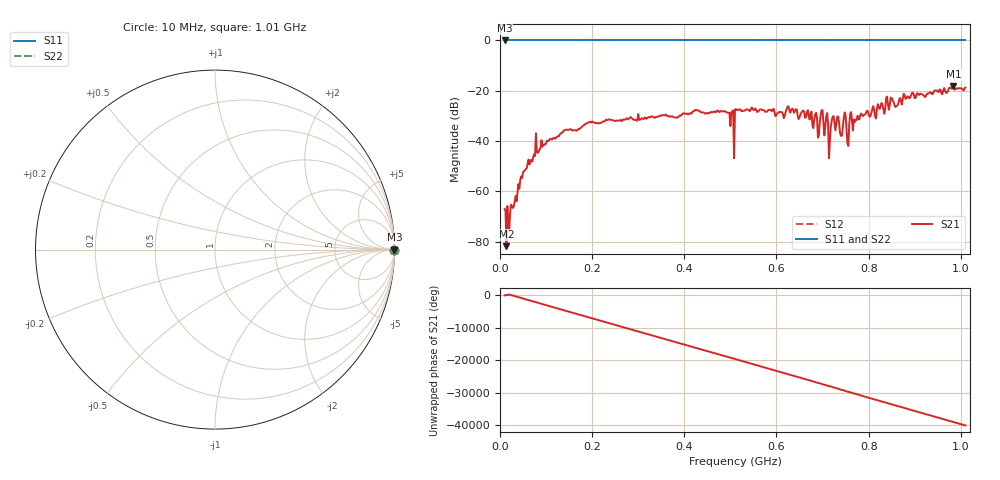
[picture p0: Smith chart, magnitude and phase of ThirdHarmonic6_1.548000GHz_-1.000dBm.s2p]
! 8/16/2025 6:22:24 PM
! C:\ANRITSUVNA\TEMP\TEMP.S2P
! CHANNEL.1
! TR.MEASUREMENT
! RAW.DATA
! RF.CORRECTION.OFF
! AVERAGING.OFF
! IF.BANDWIDTH: 5KHZ
! SWEEPTYPE:  FREQ.SWEEP(Linear)
! Reference Plane Port Info
! PORT:  PORT1  PORT2
! DISTANCE:  0  m  0  m
! TIME:  0  s  0  s
! PHASE.OFFSET:  0  deg.  0  deg.
! LOSS:  0  dB  0  dB
! REF.LOSS:  0  dB  0  dB
! REF.FREQ:  0  Hz  0  Hz
! Power Info
! POWER:  -20  dBm  -20  dBm
! EFF.POWER:  -20  dBm  -20  dBm
! SOURCE.ATTEN:  0  dB  0  dB
! TEST.ATTEN:  0  dB  0  dB
# GHZ S RI R 50.0
! FREQ.GHZ  S11RE  S11IM  S21RE  S21IM  S12RE  S12IM  S22RE  S22IM
!; PortSelection: Port_12
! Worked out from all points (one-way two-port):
!   501 points, 10 MHz to 1.01 GHz, reference 50 ohm
!   highest |S21| = -18.17 dB at 984 MHz (marker M1); lowest = -81.8 dB at 14 MHz (marker M2)
!   lowest |S11| = 0.0 dB at 10 MHz (marker M3)
!   |S11| at or under -10 dB: nowhere
!   |S22| runs from 0.0 to 0.0 dB; largest |S21 - S12| = 1.1
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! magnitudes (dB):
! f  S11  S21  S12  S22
! 10 MHz  0.0  -67.0  0.0  0.0
! 14 MHz  0.0  -81.8  0.0  0.0
! 18 MHz  0.0  -73.6  0.0  0.0
! 48 MHz  0.0  -54.7  0.0  0.0
! 76 MHz  0.0  -46.0  0.0  0.0
! 178 MHz  0.0  -34.3  0.0  0.0
! 344 MHz  0.0  -30.3  0.0  0.0
! 510 MHz  0.0  -27.6  0.0  0.0
! 514 MHz  0.0  -27.6  0.0  0.0
! 624 MHz  0.0  -26.4  0.0  0.0
! 678 MHz  0.0  -33.9  0.0  0.0
! 692 MHz  0.0  -37.8  0.0  0.0
! 698 MHz  0.0  -27.7  0.0  0.0
! 716 MHz  0.0  -39.4  0.0  0.0
! 722 MHz  0.0  -30.3  0.0  0.0
! 740 MHz  0.0  -37.9  0.0  0.0
! 748 MHz  0.0  -28.6  0.0  0.0
! 754 MHz  0.0  -41.0  0.0  0.0
! 764 MHz  0.0  -32.2  0.0  0.0
! 844 MHz  0.0  -27.6  0.0  0.0
! 984 MHz  0.0  -18.2  0.0  0.0
! 1.01 GHz  0.0  -18.7  0.0  0.0
